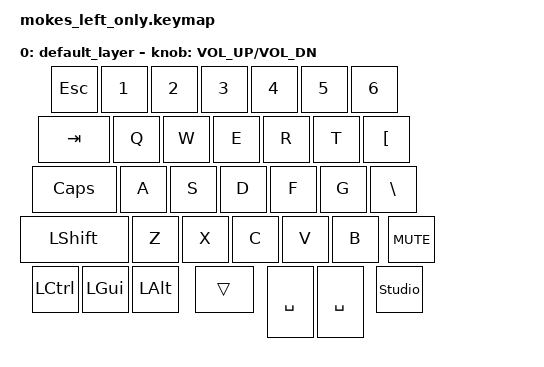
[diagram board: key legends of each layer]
// This file was generated from a template. Edit it to match your keyboard.
// See https://zmk.dev/docs/development/hardware-integration/new-shield for more instructions.

#include <behaviors.dtsi>
#include <dt-bindings/zmk/keys.h>
#include <dt-bindings/zmk/bt.h>
#include <dt-bindings/zmk/rgb.h>

#define TIMEOUT 300

&left_encoder {
    status = "disabled";
};


/ {
    // Define a default keymap here.
    // See https://zmk.dev/docs/development/hardware-integration/new-shield#default-keymap.
    keymap {
        compatible = "zmk,keymap";

        default_layer {
            bindings = <
                &kp ESC     &kp N1      &kp N2      &kp N3  &kp N4      &kp N5      &kp N6 
                &kp TAB     &kp Q       &kp W       &kp E   &kp R       &kp T       &kp LBKT
                &kp CLCK    &kp A       &kp S       &kp D   &kp F       &kp G       &kp BSLH
                &kp LSHFT   &kp Z       &kp X       &kp C   &kp V       &kp B       &kp C_MUTE
                &kp LCTRL   &kp LGUI    &kp LALT    &trans  &kp SPACE   &kp SPACE   &studio_unlock 
            >;
            sensor-bindings = <&inc_dec_kp C_VOL_UP C_VOL_DN>;

        };
    };
};
